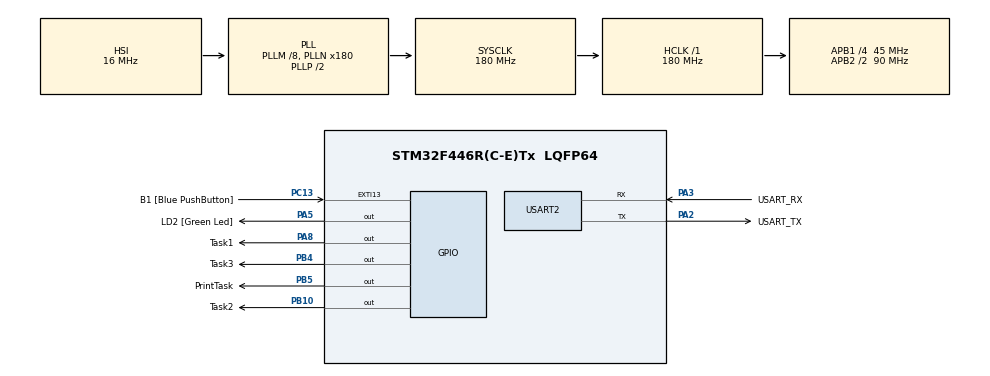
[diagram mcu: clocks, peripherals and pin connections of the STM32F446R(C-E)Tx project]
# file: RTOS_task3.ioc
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FREERTOS.BinarySemaphores01=myBinarySem01,Dynamic,NULL
FREERTOS.Mutexes01=myMutex01,Dynamic,NULL
FREERTOS.Tasks01=defaultTask,24,128,StartDefaultTask,Default,NULL,Dynamic,NULL,NULL;myTask01,16,128,StartTask01,Default,NULL,Dynamic,NULL,NULL;myTask02,24,128,StartTask02,Default,NULL,Dynamic,NULL,NULL;myTask03,32,128,StartTask03,Default,NULL,Dynamic,NULL,NULL;myPrintTask,8,2048,StartPrintTask,Default,NULL,Dynamic,NULL,NULL
FREERTOS.configENABLE_FPU=1
FREERTOS.configUSE_NEWLIB_REENTRANT=1
Mcu.Family=STM32F4
Mcu.Name=STM32F446R(C-E)Tx
Mcu.Package=LQFP64
NVIC.PriorityGroup=NVIC_PRIORITYGROUP_4
NVIC.TIM6_DAC_IRQn=true\:15\:0\:false\:false\:true\:false\:false\:true\:true
NVIC.TimeBase=TIM6_DAC_IRQn
NVIC.TimeBaseIP=TIM6
PA13.GPIO_Label=TMS
PA13.Mode=Serial_Wire
PA13.Signal=SYS_JTMS-SWDIO
PA14.GPIO_Label=TCK
PA14.Mode=Serial_Wire
PA14.Signal=SYS_JTCK-SWCLK
PA2.GPIO_Label=USART_TX
PA2.Mode=Asynchronous
PA2.Signal=USART2_TX
PA3.GPIO_Label=USART_RX
PA3.Mode=Asynchronous
PA3.Signal=USART2_RX
PA5.GPIO_Label=LD2 [Green Led]
PA5.Signal=GPIO_Output
PA8.GPIO_Label=Task1
PA8.Signal=GPIO_Output
PB10.GPIO_Label=Task2
PB10.Signal=GPIO_Output
PB3.GPIO_Label=SWO
PB3.Signal=SYS_JTDO-SWO
PB4.GPIO_Label=Task3
PB4.Signal=GPIO_Output
PB5.GPIO_Label=PrintTask
PB5.Signal=GPIO_Output
PC13.GPIO_Label=B1 [Blue PushButton]
PC13.GPIO_ModeDefaultEXTI=GPIO_MODE_IT_FALLING
PC13.Signal=GPXTI13
PC14-OSC32_IN.Signal=RCC_OSC32_IN
PC15-OSC32_OUT.Signal=RCC_OSC32_OUT
PH0-OSC_IN.Signal=RCC_OSC_IN
PH1-OSC_OUT.Signal=RCC_OSC_OUT
ProjectManager.HeapSize=0x200
ProjectManager.StackSize=0x400
ProjectManager.TargetToolchain=STM32CubeIDE
RCC.AHBFreq_Value=180000000
RCC.APB1CLKDivider=RCC_HCLK_DIV4
RCC.APB1Freq_Value=45000000
RCC.APB1TimFreq_Value=90000000
RCC.APB2CLKDivider=RCC_HCLK_DIV2
RCC.APB2Freq_Value=90000000
RCC.APB2TimFreq_Value=180000000
RCC.CortexFreq_Value=180000000
RCC.FLatency-AdvancedSettings=FLASH_LATENCY_5
RCC.HCLKFreq_Value=180000000
RCC.HSE_VALUE=8000000
RCC.HSI_VALUE=16000000
RCC.LSE_VALUE=32768
RCC.PLLM=8
RCC.PLLN=180
RCC.SYSCLKFreq_VALUE=180000000
RCC.SYSCLKSource=RCC_SYSCLKSOURCE_PLLCLK
RCC.USBFreq_Value=180000000
RCC.VCOOutputFreq_Value=360000000
USART2.VirtualMode=VM_ASYNC
VP_FREERTOS_VS_CMSIS_V2.Mode=CMSIS_V2
VP_SYS_VS_tim6.Mode=TIM6
board=NUCLEO-F446RE

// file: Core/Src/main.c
/* USER CODE BEGIN Header */
/**
  ******************************************************************************
  * @file           : main.c
  * @brief          : Main program body
  ******************************************************************************
  * @attention
  *
  * Copyright (c) 2023 STMicroelectronics.
  * All rights reserved.
  *
  * This software is licensed under terms that can be found in the LICENSE file
  * in the root directory of this software component.
  * If no LICENSE file comes with this software, it is provided AS-IS.
  *
  ******************************************************************************
  */
/* USER CODE END Header */
#include "main.h"
#include "cmsis_os.h"
#include "usart.h"
#include "gpio.h"

void SystemClock_Config(void);
void MX_FREERTOS_Init(void);

int main(void)
{

  /* MCU Configuration--------------------------------------------------------*/

  /* Reset of all peripherals, Initializes the Flash interface and the Systick. */
  HAL_Init();

  /* Configure the system clock */
  SystemClock_Config();

  /* Initialize all configured peripherals */
  MX_GPIO_Init();
  MX_USART2_UART_Init();

  /* Init scheduler */
  osKernelInitialize();  /* Call init function for freertos objects (in freertos.c) */
  MX_FREERTOS_Init();

  /* Start scheduler */
  osKernelStart();
  /* We should never get here as control is now taken by the scheduler */
  /* Infinite loop */
  while (1)
  {

  }
}

void SystemClock_Config(void)
{
  RCC_OscInitTypeDef RCC_OscInitStruct = {0};
  RCC_ClkInitTypeDef RCC_ClkInitStruct = {0};

  /** Configure the main internal regulator output voltage
  */
  __HAL_RCC_PWR_CLK_ENABLE();
  __HAL_PWR_VOLTAGESCALING_CONFIG(PWR_REGULATOR_VOLTAGE_SCALE1);

  /** Initializes the RCC Oscillators according to the specified parameters
  * in the RCC_OscInitTypeDef structure.
  */
  RCC_OscInitStruct.OscillatorType = RCC_OSCILLATORTYPE_HSI;
  RCC_OscInitStruct.HSIState = RCC_HSI_ON;
  RCC_OscInitStruct.HSICalibrationValue = RCC_HSICALIBRATION_DEFAULT;
  RCC_OscInitStruct.PLL.PLLState = RCC_PLL_ON;
  RCC_OscInitStruct.PLL.PLLSource = RCC_PLLSOURCE_HSI;
  RCC_OscInitStruct.PLL.PLLM = 8;
  RCC_OscInitStruct.PLL.PLLN = 180;
  RCC_OscInitStruct.PLL.PLLP = RCC_PLLP_DIV2;
  RCC_OscInitStruct.PLL.PLLQ = 2;
  RCC_OscInitStruct.PLL.PLLR = 2;
  if (HAL_RCC_OscConfig(&RCC_OscInitStruct) != HAL_OK)
  {
    Error_Handler();
  }

  /** Activate the Over-Drive mode
  */
  if (HAL_PWREx_EnableOverDrive() != HAL_OK)
  {
    Error_Handler();
  }

  /** Initializes the CPU, AHB and APB buses clocks
  */
  RCC_ClkInitStruct.ClockType = RCC_CLOCKTYPE_HCLK|RCC_CLOCKTYPE_SYSCLK
                              |RCC_CLOCKTYPE_PCLK1|RCC_CLOCKTYPE_PCLK2;
  RCC_ClkInitStruct.SYSCLKSource = RCC_SYSCLKSOURCE_PLLCLK;
  RCC_ClkInitStruct.AHBCLKDivider = RCC_SYSCLK_DIV1;
  RCC_ClkInitStruct.APB1CLKDivider = RCC_HCLK_DIV4;
  RCC_ClkInitStruct.APB2CLKDivider = RCC_HCLK_DIV2;

  if (HAL_RCC_ClockConfig(&RCC_ClkInitStruct, FLASH_LATENCY_5) != HAL_OK)
  {
    Error_Handler();
  }
}

void HAL_TIM_PeriodElapsedCallback(TIM_HandleTypeDef *htim)
{
  if (htim->Instance == TIM6) {
    HAL_IncTick();
  }
}

void Error_Handler(void)
{
  __disable_irq();
  while (1)
  {
  }
}

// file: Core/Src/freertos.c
/* USER CODE BEGIN Header */
/**
  ******************************************************************************
  * File Name          : freertos.c
  * Description        : Code for freertos applications
  ******************************************************************************
  * @attention
  *
  * Copyright (c) 2023 STMicroelectronics.
  * All rights reserved.
  *
  * This software is licensed under terms that can be found in the LICENSE file
  * in the root directory of this software component.
  * If no LICENSE file comes with this software, it is provided AS-IS.
  *
  ******************************************************************************
  */
/* USER CODE END Header */

#include "FreeRTOS.h"
#include "task.h"
#include "main.h"
#include "cmsis_os.h"

/* USER CODE BEGIN Includes */
#include <stdlib.h>
#include "usart.h"
#include <math.h>
#include <string.h>
#include <stdio.h>
/* USER CODE END Includes */

/* USER CODE BEGIN PTD */

/* x - number of task (1,2,3)
 * datax[0] - mean
 * datax[1] - square mean
 * statusx  - flag =1 when means are up to date
 */
typedef struct data_t{
	float data1[2];
	float data2[2];
	float data3[2];
	uint8_t status1;
	uint8_t status2;
	uint8_t status3;
}data_t;
/* USER CODE END PTD */

/* USER CODE BEGIN PD */
//#define SEMAPHORE TRUE
/* USER CODE END PD */

/* USER CODE BEGIN Variables */

data_t data;

/* USER CODE END Variables */
/* Definitions for defaultTask */
osThreadId_t defaultTaskHandle;
const osThreadAttr_t defaultTask_attributes = {
  .name = "defaultTask",
  .stack_size = 128 * 4,
  .priority = (osPriority_t) osPriorityNormal,
};
/* Definitions for myTask01 */
osThreadId_t myTask01Handle;
const osThreadAttr_t myTask01_attributes = {
  .name = "myTask01",
  .stack_size = 128 * 4,
  .priority = (osPriority_t) osPriorityBelowNormal,
};
/* Definitions for myTask02 */
osThreadId_t myTask02Handle;
const osThreadAttr_t myTask02_attributes = {
  .name = "myTask02",
  .stack_size = 128 * 4,
  .priority = (osPriority_t) osPriorityNormal,
};
/* Definitions for myTask03 */
osThreadId_t myTask03Handle;
const osThreadAttr_t myTask03_attributes = {
  .name = "myTask03",
  .stack_size = 128 * 4,
  .priority = (osPriority_t) osPriorityAboveNormal,
};
/* Definitions for myPrintTask */
osThreadId_t myPrintTaskHandle;
const osThreadAttr_t myPrintTask_attributes = {
  .name = "myPrintTask",
  .stack_size = 2048 * 4,
  .priority = (osPriority_t) osPriorityLow,
};
/* Definitions for myMutex01 */
osMutexId_t myMutex01Handle;
const osMutexAttr_t myMutex01_attributes = {
  .name = "myMutex01"
};
/* Definitions for myBinarySem01 */
osSemaphoreId_t myBinarySem01Handle;
const osSemaphoreAttr_t myBinarySem01_attributes = {
  .name = "myBinarySem01"
};

void StartDefaultTask(void *argument);
void StartTask01(void *argument);
void StartTask02(void *argument);
void StartTask03(void *argument);
void StartPrintTask(void *argument);

void MX_FREERTOS_Init(void); /* (MISRA C 2004 rule 8.1) */

void MX_FREERTOS_Init(void) {
  /* Create the mutex(es) */
  /* creation of myMutex01 */
  myMutex01Handle = osMutexNew(&myMutex01_attributes);

  /* Create the semaphores(s) */
  /* creation of myBinarySem01 */
  myBinarySem01Handle = osSemaphoreNew(1, 1, &myBinarySem01_attributes);

  /* Create the thread(s) */
  /* creation of defaultTask */
  defaultTaskHandle = osThreadNew(StartDefaultTask, NULL, &defaultTask_attributes);

  /* creation of myTask01 */
  myTask01Handle = osThreadNew(StartTask01, NULL, &myTask01_attributes);

  /* creation of myTask02 */
  myTask02Handle = osThreadNew(StartTask02, NULL, &myTask02_attributes);

  /* creation of myTask03 */
  myTask03Handle = osThreadNew(StartTask03, NULL, &myTask03_attributes);

  /* creation of myPrintTask */
  myPrintTaskHandle = osThreadNew(StartPrintTask, NULL, &myPrintTask_attributes);

}

void StartDefaultTask(void *argument)
{
  for(;;)
  {
    osDelay(1);
  }
}

void StartTask01(void *argument)
{
  /* USER CODE BEGIN StartTask01 */
	float rnd, mean, square;
	srand((unsigned)osKernelSysTick());
	data.status1 = 0;
  /* Infinite loop */
  for(;;)
  {
	  if(!data.status1) {

		HAL_GPIO_TogglePin(Task1_GPIO_Port, Task1_Pin);

		#ifdef SEMAPHORE
		osSemaphoreAcquire(myBinarySem01Handle, osWaitForever);
		#else
		osMutexAcquire(myMutex01Handle, osWaitForever);
		#endif

		mean = 0;
		square = 0;

		for(uint16_t i = 0; i < 1000; i++) {
		 // cast random value to float, divide by RAND_MAX to get 0-1 range, *2 to get 0-2 range and -1 to get -1 to 1 range
		  rnd = (float)rand() / RAND_MAX * 2.0f - 1.0f;
		  mean += rnd;
		  square += rnd * rnd;
		}

		data.data1[0] = mean/1000;
		data.data1[1] = sqrt(square/1000);
		data.status1  =	1;

		#ifdef SEMAPHORE
		osSemaphoreRelease(myBinarySem01Handle);
		#else
		osMutexRelease(myMutex01Handle);
		#endif

		HAL_GPIO_TogglePin(Task1_GPIO_Port, Task1_Pin);

	}
    osDelay(1);
  }
  /* USER CODE END StartTask01 */
}

void StartTask02(void *argument)
{
  /* USER CODE BEGIN StartTask02 */
	float rnd, mean, square;
	srand((unsigned)osKernelSysTick());
	data.status2 = 0;

  /* Infinite loop */
  for(;;)
  {
	  if(!data.status2) {

		HAL_GPIO_TogglePin(Task2_GPIO_Port, Task2_Pin);

		#ifdef SEMAPHORE
		osSemaphoreAcquire(myBinarySem01Handle, osWaitForever);
		#else
		osMutexAcquire(myMutex01Handle, osWaitForever);
		#endif

		mean = 0;
		square = 0;

		for(uint16_t i = 0; i < 1000; i++) {
		 // cast random value to float, divide by RAND_MAX to get 0-1 range, *2 to get 0-2 range and -1 to get -1 to 1 range
		  rnd = (float)rand() / RAND_MAX * 2.0f - 1.0f;
		  mean += rnd;
		  square += rnd * rnd;
		}

		data.data2[0] = mean/1000;
		data.data2[1] = sqrt(square/1000);
		data.status2  =	1;

		#ifdef SEMAPHORE
		osSemaphoreRelease(myBinarySem01Handle);
		#else
		osMutexRelease(myMutex01Handle);
		#endif

		HAL_GPIO_TogglePin(Task2_GPIO_Port, Task2_Pin);

	}
    osDelay(1);
  }
  /* USER CODE END StartTask02 */
}

void StartTask03(void *argument)
{
  /* USER CODE BEGIN StartTask03 */
	float rnd, mean, square;
	srand((unsigned)osKernelSysTick());
	data.status3 = 0;

  /* Infinite loop */
  for(;;)
  {
	  if(!data.status3) {

		HAL_GPIO_TogglePin(Task3_GPIO_Port, Task3_Pin);

		#ifdef SEMAPHORE
		osSemaphoreAcquire(myBinarySem01Handle, osWaitForever);
		#else
		osMutexAcquire(myMutex01Handle, osWaitForever);
		#endif

		mean = 0;
		square = 0;

		for(uint16_t i = 0; i < 1000; i++){

			// cast random value to float, divide by RAND_MAX to get 0-1 range, *2 to get 0-2 range and -1 to get -1 to 1 range
			rnd = (float)rand() / RAND_MAX * 2.0f - 1.0f;
			mean += rnd;
			square += rnd * rnd;
		}

		data.data3[0] = mean/1000;
		data.data3[1] = sqrt(square/1000);
		data.status3  = 1;

		#ifdef SEMAPHORE
		osSemaphoreRelease(myBinarySem01Handle);
		#else
		osMutexRelease(myMutex01Handle);
		#endif

		HAL_GPIO_TogglePin(Task3_GPIO_Port, Task3_Pin);

	  }
	  osDelay(1);
  }
  /* USER CODE END StartTask03 */
}

void StartPrintTask(void *argument)
{
  /* USER CODE BEGIN StartPrintTask */
	float means[2];
	uint8_t buf[61];
	/* Infinite loop */
	for(;;)
	{
		if (data.status1 && data.status2 && data.status3){

			HAL_GPIO_TogglePin(PrintTask_GPIO_Port, PrintTask_Pin);

			#ifdef SEMAPHORE
			osSemaphoreAcquire(myBinarySem01Handle, osWaitForever);
			#else
			osMutexAcquire(myMutex01Handle, osWaitForever);
			#endif

			//means of means
			means[0] = (data.data1[0] + data.data2[0] + data.data3[0]) / 3;
			means[1] = (data.data1[1] + data.data2[1] + data.data3[1]) / 3;

			sprintf((char*)buf, "Mean of means = %f | Mean of square means = %f", means[0], means[1]);
			HAL_UART_Transmit(&huart2, buf, strlen((const char*)buf), HAL_MAX_DELAY);
			HAL_UART_Transmit(&huart2, (uint8_t*)"\n", sizeof("\n"), HAL_MAX_DELAY);

			// delay 10 * 60 chars
			osDelay(600);

			data.status1 = 0;
			data.status2 = 0;
			data.status3 = 0;

			#ifdef SEMAPHORE
			osSemaphoreRelease(myBinarySem01Handle);
			#else
			osMutexRelease(myMutex01Handle);
			#endif

			HAL_GPIO_TogglePin(PrintTask_GPIO_Port, PrintTask_Pin);
		}

		//1s - 600ms from previous delay
		osDelay(400);
	}
  /* USER CODE END StartPrintTask */
}
